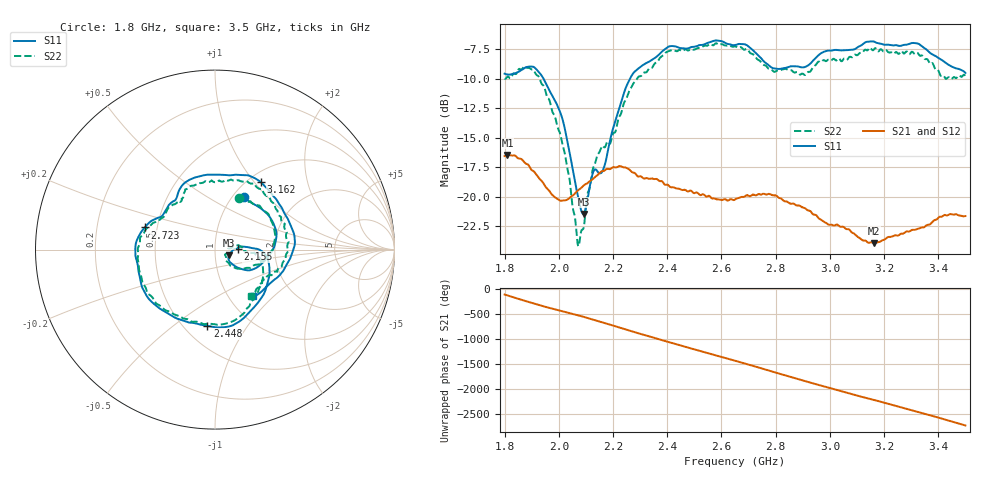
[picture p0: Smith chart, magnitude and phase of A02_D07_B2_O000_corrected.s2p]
! Created with skrf 1.9.0 (http://scikit-rf.org).
# Hz S RI R 50.0
!freq ReS11 ImS11 ReS21 ImS21 ReS12 ImS12 ReS22 ImS22
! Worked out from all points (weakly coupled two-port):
!   1601 points, 1.8 GHz to 3.5 GHz, reference 50 ohm
!   highest |S21| = -16.45 dB at 1.811 GHz (marker M1); lowest = -23.9 dB at 3.163 GHz (marker M2)
!   lowest |S11| = -21.5 dB at 2.091 GHz (marker M3), VSWR 1.18, Z = 58.4 - j3.62 ohm
!   |S11| at or under -10 dB: 1.944 GHz to 2.262 GHz (318.2 MHz wide, 15.1 % of centre)
!   |S22| runs from -24.2 to -7.0 dB; largest |S21 - S12| = 0.003
!   S11 on the Smith chart (normalised r, x): 1.8 GHz: 1.13, +0.74; 2.155 GHz: 1.29, +0.01; 2.448 GHz: 0.64, -0.67; 2.723 GHz: 0.43, +0.13; 3.162 GHz: 1.14, +1.08; 3.5 GHz: 1.29, -0.75
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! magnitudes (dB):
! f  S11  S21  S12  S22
! 1.8 GHz  -9.6  -16.5  -16.6  -10.0
! 1.811 GHz  -9.6  -16.4  -16.5  -9.8
! 1.88 GHz  -9.0  -17.2  -17.2  -9.0
! 1.942 GHz  -9.9  -18.8  -18.8  -10.5
! 2.013 GHz  -13.3  -20.3  -20.3  -15.4
! 2.069 GHz  -19.7  -19.5  -19.5  -23.9
! 2.084 GHz  -21.2  -19.2  -19.2  -22.8
! 2.091 GHz  -21.5  -19.1  -19.1  -22.7
! 2.127 GHz  -17.9  -18.5  -18.5  -17.5
! 2.155 GHz  -18.0  -17.9  -17.9  -15.9
! 2.259 GHz  -10.1  -17.7  -17.7  -11.1
! 2.367 GHz  -8.0  -18.6  -18.5  -8.4
! 2.448 GHz  -7.4  -19.4  -19.4  -7.6
! 2.65 GHz  -7.1  -20.2  -20.2  -7.3
! 2.723 GHz  -7.7  -19.9  -19.8  -8.1
! 2.799 GHz  -9.1  -19.9  -19.9  -9.4
! 2.934 GHz  -8.6  -21.4  -21.4  -9.2
! 3.162 GHz  -6.8  -23.9  -23.9  -7.5
! 3.163 GHz  -6.8  -23.9  -23.9  -7.5
! 3.217 GHz  -7.1  -23.4  -23.4  -7.8
! 3.325 GHz  -7.0  -22.7  -22.7  -7.8
! 3.5 GHz  -9.5  -21.6  -21.6  -9.8
